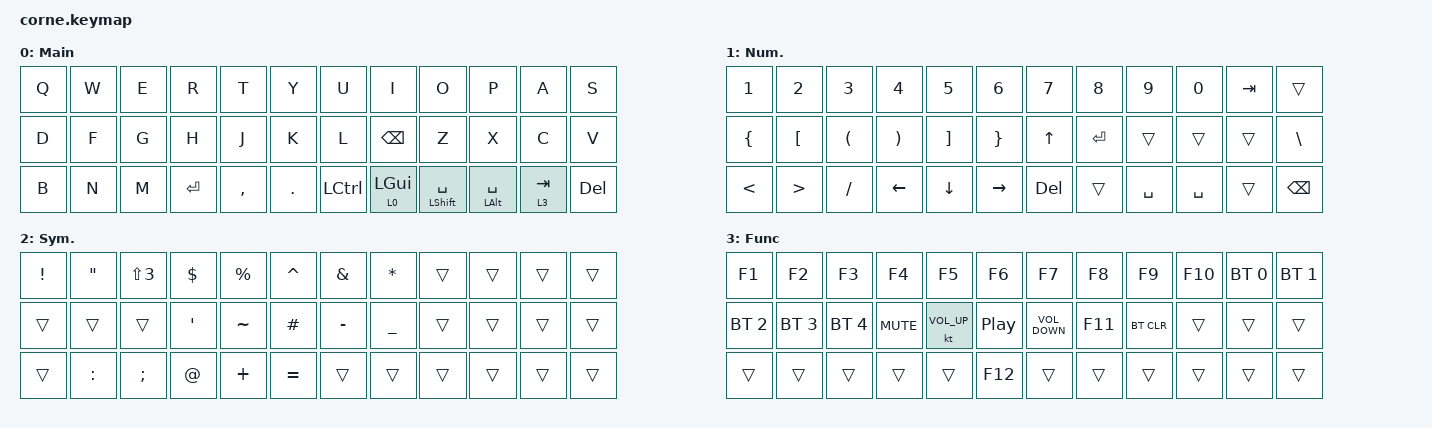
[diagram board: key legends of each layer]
/*
 * Copyright (c) 2020 The ZMK Contributors
 *
 * SPDX-License-Identifier: MIT
 */

#include <behaviors.dtsi>
#include <dt-bindings/zmk/bt.h>
#include <dt-bindings/zmk/keys.h>

/ {
    chosen { zmk,matrix-transform = &five_column_transform; };

    combos {
        compatible = "zmk,combos";

        Esc {
            bindings = <&kp ESC>;
            key-positions = <4 5>;
        };
    };

    keymap {
        compatible = "zmk,keymap";

        Main {
            bindings = <
&kp Q  &kp W  &kp E  &kp R    &kp T      &kp Y      &kp U      &kp I           &kp O                 &kp P               &kp A      &kp S
&kp D  &kp F  &kp G  &kp H    &kp J      &kp K      &kp L      &kp BACKSPACE   &kp Z                 &kp X               &kp C      &kp V
&kp B  &kp N  &kp M  &kp RET  &kp COMMA  &kp DOT    &kp LCTRL  &lt 0 LEFT_GUI  &mt LEFT_SHIFT SPACE  &mt LEFT_ALT SPACE  &lt 3 TAB  &kp DEL
            >;
        };

        Num. {
            bindings = <
&kp N1          &kp N2            &kp N3                &kp N4                 &kp N5             &kp N6             &kp N7      &kp N8     &kp N9     &kp N0     &kp TAB  &trans
&kp LEFT_BRACE  &kp LEFT_BRACKET  &kp LEFT_PARENTHESIS  &kp RIGHT_PARENTHESIS  &kp RIGHT_BRACKET  &kp RIGHT_BRACE    &kp UP      &kp ENTER  &trans     &trans     &trans   &kp BACKSLASH
&kp LESS_THAN   &kp GREATER_THAN  &kp SLASH             &kp LEFT               &kp DOWN           &kp RIGHT          &kp DELETE  &trans     &kp SPACE  &kp SPACE  &trans   &kp BACKSPACE
            >;
        };

        Sym. {
            bindings = <
&kp EXCLAMATION  &kp DOUBLE_QUOTES  &kp LS(NUMBER_3)  &kp DOLLAR      &kp PERCENT  &kp CARET    &kp AMPERSAND  &kp ASTERISK    &trans  &trans  &trans  &trans
&trans           &trans             &trans            &kp APOSTROPHE  &kp TILDE    &kp POUND    &kp MINUS      &kp UNDERSCORE  &trans  &trans  &trans  &trans
&trans           &kp COLON          &kp SEMI          &kp AT_SIGN     &kp PLUS     &kp EQUAL    &trans         &trans          &trans  &trans  &trans  &trans
            >;
        };

        Func {
            bindings = <
&kp F1        &kp F2        &kp F3        &kp F4      &kp F5           &kp F6              &kp F7             &kp F8   &kp F9      &kp F10  &bt BT_SEL 0  &bt BT_SEL 1
&bt BT_SEL 2  &bt BT_SEL 3  &bt BT_SEL 4  &kp K_MUTE  &kt C_VOLUME_UP  &kp C_PLAY_PAUSE    &kp C_VOLUME_DOWN  &kp F11  &bt BT_CLR  &trans   &trans        &trans
&trans        &trans        &trans        &trans      &trans           &kp F12             &trans             &trans   &trans      &trans   &trans        &trans
            >;
        };
    };

    conditional_layers {
        compatible = "zmk,conditional-layers";

        Func {
            if-layers = <1 2>;
            then-layer = <3>;
        };
    };
};
